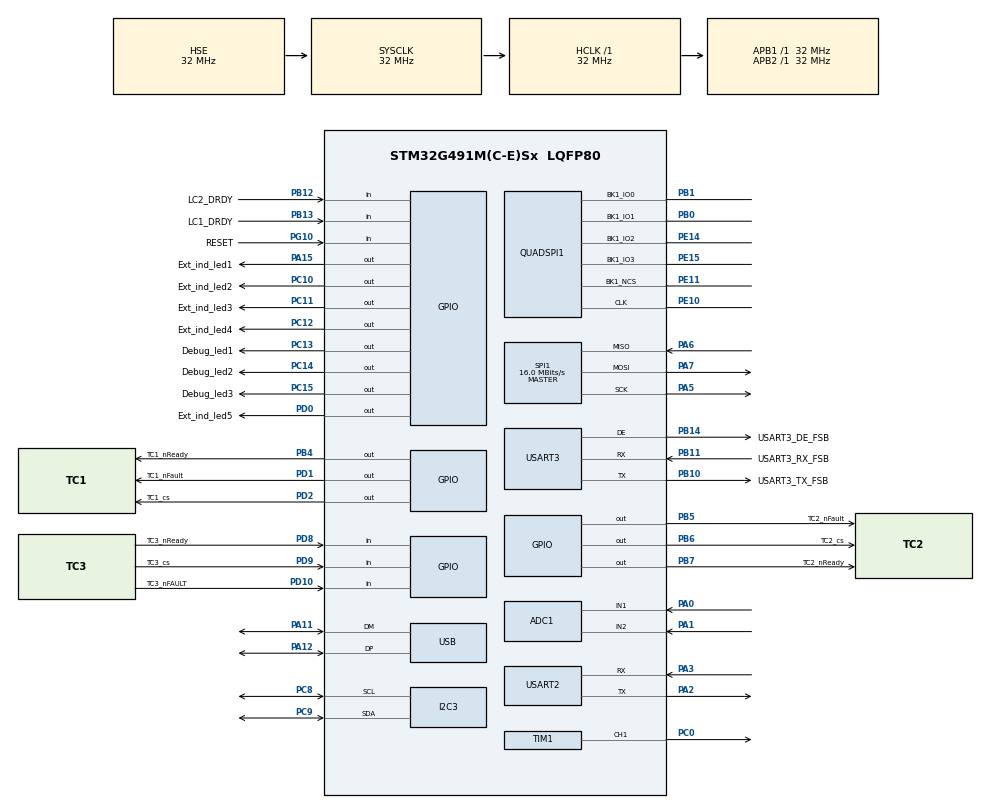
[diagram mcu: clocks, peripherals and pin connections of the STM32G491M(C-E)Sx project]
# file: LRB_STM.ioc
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ADC1.Channel-0\#ChannelRegularConversion=ADC_CHANNEL_1
ADC1.NbrOfConversionFlag=1
ADC1.OffsetNumber-0\#ChannelRegularConversion=ADC_OFFSET_NONE
ADC1.Rank-0\#ChannelRegularConversion=1
ADC1.SamplingTime-0\#ChannelRegularConversion=ADC_SAMPLETIME_2CYCLES_5
ADC1.SingleDiff-0\#ChannelRegularConversion=ADC_DIFFERENTIAL_ENDED
ADC1.master=1
FREERTOS.Tasks01=defaultTask,0,128,StartDefaultTask,Default,NULL,Dynamic,NULL,NULL
FREERTOS.configUSE_NEWLIB_REENTRANT=1
I2C3.Timing=0x00B07CB4
Mcu.Family=STM32G4
Mcu.Name=STM32G491M(C-E)Sx
Mcu.Package=LQFP80
NVIC.PriorityGroup=NVIC_PRIORITYGROUP_4
NVIC.TIM6_DAC_IRQn=true\:15\:0\:false\:false\:true\:false\:false\:true\:true
NVIC.TimeBase=TIM6_DAC_IRQn
NVIC.TimeBaseIP=TIM6
PA0.Mode=IN1-Differential
PA0.Signal=ADC1_IN1
PA1.Mode=IN1-Differential
PA1.Signal=ADC1_IN2
PA11.Mode=Device
PA11.Signal=USB_DM
PA12.Mode=Device
PA12.Signal=USB_DP
PA13.Mode=Trace_Asynchronous_SW
PA13.Signal=SYS_JTMS-SWDIO
PA14.Mode=Trace_Asynchronous_SW
PA14.Signal=SYS_JTCK-SWCLK
PA15.GPIO_Label=Ext_ind_led1
PA15.Signal=GPIO_Output
PA2.Mode=Asynchronous
PA2.Signal=USART2_TX
PA3.Mode=Asynchronous
PA3.Signal=USART2_RX
PA5.Mode=Full_Duplex_Master
PA5.Signal=SPI1_SCK
PA6.Mode=Full_Duplex_Master
PA6.Signal=SPI1_MISO
PA7.Mode=Full_Duplex_Master
PA7.Signal=SPI1_MOSI
PB0.Mode=Single Bank 1
PB0.Signal=QUADSPI1_BK1_IO1
PB1.Mode=Single Bank 1
PB1.Signal=QUADSPI1_BK1_IO0
PB10.GPIO_Label=USART3_TX_FSB
PB10.Mode=Asynchronous
PB10.Signal=USART3_TX
PB11.GPIO_Label=USART3_RX_FSB
PB11.Mode=Asynchronous
PB11.Signal=USART3_RX
PB12.GPIO_Label=LC2_DRDY
PB12.Signal=GPIO_Input
PB13.GPIO_Label=LC1_DRDY
PB13.Signal=GPIO_Input
PB14.GPIO_Label=USART3_DE_FSB
PB14.Mode=Hardware Flow Control (RS485)
PB14.Signal=USART3_DE
PB3.Mode=Trace_Asynchronous_SW
PB3.Signal=SYS_JTDO-SWO
PB4.GPIO_Label=TC1_nReady
PB4.Signal=GPIO_Output
PB5.GPIO_Label=TC2_nFault
PB5.Signal=GPIO_Output
PB6.GPIO_Label=TC2_cs
PB6.Signal=GPIO_Output
PB7.GPIO_Label=TC2_nReady
PB7.Signal=GPIO_Output
PC0.Signal=S_TIM1_CH1
PC10.GPIO_Label=Ext_ind_led2
PC10.Signal=GPIO_Output
PC11.GPIO_Label=Ext_ind_led3
PC11.Signal=GPIO_Output
PC12.GPIO_Label=Ext_ind_led4
PC12.Signal=GPIO_Output
PC13.GPIO_Label=Debug_led1
PC13.Signal=GPIO_Output
PC14-OSC32_IN.GPIO_Label=Debug_led2
PC14-OSC32_IN.Signal=GPIO_Output
PC15-OSC32_OUT.GPIO_Label=Debug_led3
PC15-OSC32_OUT.Signal=GPIO_Output
PC8.Mode=I2C
PC8.Signal=I2C3_SCL
PC9.Mode=I2C
PC9.Signal=I2C3_SDA
PD0.GPIO_Label=Ext_ind_led5
PD0.Signal=GPIO_Output
PD1.GPIO_Label=TC1_nFault
PD1.Signal=GPIO_Output
PD10.GPIO_Label=TC3_nFAULT
PD10.Signal=GPIO_Input
PD2.GPIO_Label=TC1_cs
PD2.Signal=GPIO_Output
PD8.GPIO_Label=TC3_nReady
PD8.Signal=GPIO_Input
PD9.GPIO_Label=TC3_cs
PD9.Signal=GPIO_Input
PE10.Mode=Single Bank 1
PE10.Signal=QUADSPI1_CLK
PE11.Mode=Single Bank 1
PE11.Signal=QUADSPI1_BK1_NCS
PE14.Mode=Single Bank 1
PE14.Signal=QUADSPI1_BK1_IO2
PE15.Mode=Single Bank 1
PE15.Signal=QUADSPI1_BK1_IO3
PF0-OSC_IN.Mode=HSE-External-Oscillator
PF0-OSC_IN.Signal=RCC_OSC_IN
PF1-OSC_OUT.Mode=HSE-External-Oscillator
PF1-OSC_OUT.Signal=RCC_OSC_OUT
PG10-NRST.GPIO_Label=RESET
PG10-NRST.Signal=GPIO_Input
ProjectManager.HeapSize=0x200
ProjectManager.StackSize=0x400
ProjectManager.TargetToolchain=STM32CubeIDE
RCC.ADC12Freq_Value=32000000
RCC.ADC345Freq_Value=32000000
RCC.AHBFreq_Value=32000000
RCC.APB1Freq_Value=32000000
RCC.APB1TimFreq_Value=32000000
RCC.APB2Freq_Value=32000000
RCC.APB2TimFreq_Value=32000000
RCC.CortexFreq_Value=32000000
RCC.EXTERNAL_CLOCK_VALUE=12288000
RCC.HCLKFreq_Value=32000000
RCC.HSE_VALUE=32000000
RCC.HSI48_VALUE=48000000
RCC.HSI_VALUE=16000000
RCC.LSE_VALUE=32768
RCC.PLLSourceVirtual=RCC_PLLSOURCE_HSE
RCC.SYSCLKFreq_VALUE=32000000
RCC.SYSCLKSource=RCC_SYSCLKSOURCE_HSE
RCC.VCOOutputFreq_Value=256000000
SH.S_TIM1_CH1.0=TIM1_CH1,PWM Generation1 CH1
SPI1.CalculateBaudRate=16.0 MBits/s
SPI1.Direction=SPI_DIRECTION_2LINES
SPI1.Mode=SPI_MODE_MASTER
SPI1.VirtualType=VM_MASTER
TIM1.Channel-PWM\ Generation1\ CH1=TIM_CHANNEL_1
USART2.VirtualMode-Asynchronous=VM_ASYNC
USART3.VirtualMode-Asynchronous=VM_ASYNC
USART3.VirtualMode-Hardware\ Flow\ Control\ (RS485)=VM_ASYNC
VP_FREERTOS_VS_CMSIS_V1.Mode=CMSIS_V1
VP_SYS_VS_DBSignals.Mode=DisableDeadBatterySignals
VP_SYS_VS_tim6.Mode=TIM6
board=custom

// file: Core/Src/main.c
/* USER CODE BEGIN Header */
/**
  ******************************************************************************
  * @file           : main.c
  * @brief          : Main program body
  ******************************************************************************
  * @attention
  *
  * Copyright (c) 2026 STMicroelectronics.
  * All rights reserved.
  *
  * This software is licensed under terms that can be found in the LICENSE file
  * in the root directory of this software component.
  * If no LICENSE file comes with this software, it is provided AS-IS.
  *
  ******************************************************************************
  */
/* USER CODE END Header */
#include "main.h"
#include "cmsis_os.h"

/* USER CODE BEGIN Includes */
#include "..\..\Components\SystemLogic\main_system.h"
/* USER CODE END Includes */

ADC_HandleTypeDef hadc1;

I2C_HandleTypeDef hi2c3;

QSPI_HandleTypeDef hqspi1;

SPI_HandleTypeDef hspi1;

TIM_HandleTypeDef htim1;

UART_HandleTypeDef huart2;
UART_HandleTypeDef huart3;

PCD_HandleTypeDef hpcd_USB_FS;

osThreadId defaultTaskHandle;

void SystemClock_Config(void);
static void MX_GPIO_Init(void);
static void MX_QUADSPI1_Init(void);
static void MX_SPI1_Init(void);
static void MX_USB_PCD_Init(void);
static void MX_USART2_UART_Init(void);
static void MX_USART3_UART_Init(void);
static void MX_ADC1_Init(void);
static void MX_I2C3_Init(void);
static void MX_TIM1_Init(void);
void StartDefaultTask(void const * argument);

/* USER CODE BEGIN 0 */
//MAX31856Driver tc1;
//Buzzer buzzer(&htim1, TIM_CHANNEL_1);
// Add other driver objects here as needed

// System initialization function
void System_Init()
{
    HAL_Init();
    SystemClock_Config();
    MX_GPIO_Init();
    MX_QUADSPI1_Init();
    MX_SPI1_Init();
    MX_USB_PCD_Init();
    MX_USART2_UART_Init();
    MX_USART3_UART_Init();
    MX_ADC1_Init();
    MX_I2C3_Init();
    MX_TIM1_Init();
}

// Drivers initialization function
void Drivers_Init()
{
    //tc1.init(&hspi1, TC1_cs_GPIO_Port, TC1_cs_Pin);
    //buzzer.init();
}

/* USER CODE END 0 */

int main(void)
{

  /* MCU Configuration--------------------------------------------------------*/

  /* Reset of all peripherals, Initializes the Flash interface and the Systick. */
  HAL_Init();

  /* Configure the system clock */
  SystemClock_Config();

  /* Initialize all configured peripherals */
  MX_GPIO_Init();
  MX_QUADSPI1_Init();
  MX_SPI1_Init();
  MX_USB_PCD_Init();
  MX_USART2_UART_Init();
  MX_USART3_UART_Init();
  MX_ADC1_Init();
  MX_I2C3_Init();
  MX_TIM1_Init();
  /* USER CODE BEGIN 2 */
  run_main();
  /* USER CODE END 2 */

  /* Create the thread(s) */
  /* definition and creation of defaultTask */
  osThreadDef(defaultTask, StartDefaultTask, osPriorityNormal, 0, 128);
  defaultTaskHandle = osThreadCreate(osThread(defaultTask), NULL);

  /* Start scheduler */
  osKernelStart();

  /* We should never get here as control is now taken by the scheduler */

  #if 0
  /* Infinite loop */
  while (1)
  {

  }
  #endif
}

void SystemClock_Config(void)
{
  RCC_OscInitTypeDef RCC_OscInitStruct = {0};
  RCC_ClkInitTypeDef RCC_ClkInitStruct = {0};

  /** Configure the main internal regulator output voltage
  */
  HAL_PWREx_ControlVoltageScaling(PWR_REGULATOR_VOLTAGE_SCALE1);

  /** Initializes the RCC Oscillators according to the specified parameters
  * in the RCC_OscInitTypeDef structure.
  */
  RCC_OscInitStruct.OscillatorType = RCC_OSCILLATORTYPE_HSI48|RCC_OSCILLATORTYPE_HSE;
  RCC_OscInitStruct.HSEState = RCC_HSE_ON;
  RCC_OscInitStruct.HSI48State = RCC_HSI48_ON;
  RCC_OscInitStruct.PLL.PLLState = RCC_PLL_NONE;
  if (HAL_RCC_OscConfig(&RCC_OscInitStruct) != HAL_OK)
  {
    Error_Handler();
  }

  /** Initializes the CPU, AHB and APB buses clocks
  */
  RCC_ClkInitStruct.ClockType = RCC_CLOCKTYPE_HCLK|RCC_CLOCKTYPE_SYSCLK
                              |RCC_CLOCKTYPE_PCLK1|RCC_CLOCKTYPE_PCLK2;
  RCC_ClkInitStruct.SYSCLKSource = RCC_SYSCLKSOURCE_HSE;
  RCC_ClkInitStruct.AHBCLKDivider = RCC_SYSCLK_DIV1;
  RCC_ClkInitStruct.APB1CLKDivider = RCC_HCLK_DIV1;
  RCC_ClkInitStruct.APB2CLKDivider = RCC_HCLK_DIV1;

  if (HAL_RCC_ClockConfig(&RCC_ClkInitStruct, FLASH_LATENCY_1) != HAL_OK)
  {
    Error_Handler();
  }
}

static void MX_ADC1_Init(void)
{

  ADC_MultiModeTypeDef multimode = {0};
  ADC_ChannelConfTypeDef sConfig = {0};

  /** Common config
  */
  hadc1.Instance = ADC1;
  hadc1.Init.ClockPrescaler = ADC_CLOCK_SYNC_PCLK_DIV2;
  hadc1.Init.Resolution = ADC_RESOLUTION_12B;
  hadc1.Init.DataAlign = ADC_DATAALIGN_RIGHT;
  hadc1.Init.GainCompensation = 0;
  hadc1.Init.ScanConvMode = ADC_SCAN_DISABLE;
  hadc1.Init.EOCSelection = ADC_EOC_SINGLE_CONV;
  hadc1.Init.LowPowerAutoWait = DISABLE;
  hadc1.Init.ContinuousConvMode = DISABLE;
  hadc1.Init.NbrOfConversion = 1;
  hadc1.Init.DiscontinuousConvMode = DISABLE;
  hadc1.Init.ExternalTrigConv = ADC_SOFTWARE_START;
  hadc1.Init.ExternalTrigConvEdge = ADC_EXTERNALTRIGCONVEDGE_NONE;
  hadc1.Init.DMAContinuousRequests = DISABLE;
  hadc1.Init.Overrun = ADC_OVR_DATA_PRESERVED;
  hadc1.Init.OversamplingMode = DISABLE;
  if (HAL_ADC_Init(&hadc1) != HAL_OK)
  {
    Error_Handler();
  }

  /** Configure the ADC multi-mode
  */
  multimode.Mode = ADC_MODE_INDEPENDENT;
  if (HAL_ADCEx_MultiModeConfigChannel(&hadc1, &multimode) != HAL_OK)
  {
    Error_Handler();
  }

  /** Configure Regular Channel
  */
  sConfig.Channel = ADC_CHANNEL_1;
  sConfig.Rank = ADC_REGULAR_RANK_1;
  sConfig.SamplingTime = ADC_SAMPLETIME_2CYCLES_5;
  sConfig.SingleDiff = ADC_DIFFERENTIAL_ENDED;
  sConfig.OffsetNumber = ADC_OFFSET_NONE;
  sConfig.Offset = 0;
  if (HAL_ADC_ConfigChannel(&hadc1, &sConfig) != HAL_OK)
  {
    Error_Handler();
  }

}

static void MX_I2C3_Init(void)
{

  hi2c3.Instance = I2C3;
  hi2c3.Init.Timing = 0x00B07CB4;
  hi2c3.Init.OwnAddress1 = 0;
  hi2c3.Init.AddressingMode = I2C_ADDRESSINGMODE_7BIT;
  hi2c3.Init.DualAddressMode = I2C_DUALADDRESS_DISABLE;
  hi2c3.Init.OwnAddress2 = 0;
  hi2c3.Init.OwnAddress2Masks = I2C_OA2_NOMASK;
  hi2c3.Init.GeneralCallMode = I2C_GENERALCALL_DISABLE;
  hi2c3.Init.NoStretchMode = I2C_NOSTRETCH_DISABLE;
  if (HAL_I2C_Init(&hi2c3) != HAL_OK)
  {
    Error_Handler();
  }

  /** Configure Analogue filter
  */
  if (HAL_I2CEx_ConfigAnalogFilter(&hi2c3, I2C_ANALOGFILTER_ENABLE) != HAL_OK)
  {
    Error_Handler();
  }

  /** Configure Digital filter
  */
  if (HAL_I2CEx_ConfigDigitalFilter(&hi2c3, 0) != HAL_OK)
  {
    Error_Handler();
  }

}

static void MX_QUADSPI1_Init(void)
{

  /* QUADSPI1 parameter configuration*/
  hqspi1.Instance = QUADSPI;
  hqspi1.Init.ClockPrescaler = 255;
  hqspi1.Init.FifoThreshold = 1;
  hqspi1.Init.SampleShifting = QSPI_SAMPLE_SHIFTING_NONE;
  hqspi1.Init.FlashSize = 1;
  hqspi1.Init.ChipSelectHighTime = QSPI_CS_HIGH_TIME_1_CYCLE;
  hqspi1.Init.ClockMode = QSPI_CLOCK_MODE_0;
  hqspi1.Init.FlashID = QSPI_FLASH_ID_1;
  hqspi1.Init.DualFlash = QSPI_DUALFLASH_DISABLE;
  if (HAL_QSPI_Init(&hqspi1) != HAL_OK)
  {
    Error_Handler();
  }

}

static void MX_SPI1_Init(void)
{

  /* SPI1 parameter configuration*/
  hspi1.Instance = SPI1;
  hspi1.Init.Mode = SPI_MODE_MASTER;
  hspi1.Init.Direction = SPI_DIRECTION_2LINES;
  hspi1.Init.DataSize = SPI_DATASIZE_4BIT;
  hspi1.Init.CLKPolarity = SPI_POLARITY_LOW;
  hspi1.Init.CLKPhase = SPI_PHASE_1EDGE;
  hspi1.Init.NSS = SPI_NSS_SOFT;
  hspi1.Init.BaudRatePrescaler = SPI_BAUDRATEPRESCALER_2;
  hspi1.Init.FirstBit = SPI_FIRSTBIT_MSB;
  hspi1.Init.TIMode = SPI_TIMODE_DISABLE;
  hspi1.Init.CRCCalculation = SPI_CRCCALCULATION_DISABLE;
  hspi1.Init.CRCPolynomial = 7;
  hspi1.Init.CRCLength = SPI_CRC_LENGTH_DATASIZE;
  hspi1.Init.NSSPMode = SPI_NSS_PULSE_ENABLE;
  if (HAL_SPI_Init(&hspi1) != HAL_OK)
  {
    Error_Handler();
  }

}

static void MX_TIM1_Init(void)
{

  TIM_MasterConfigTypeDef sMasterConfig = {0};
  TIM_OC_InitTypeDef sConfigOC = {0};
  TIM_BreakDeadTimeConfigTypeDef sBreakDeadTimeConfig = {0};

  htim1.Instance = TIM1;
  htim1.Init.Prescaler = 0;
  htim1.Init.CounterMode = TIM_COUNTERMODE_UP;
  htim1.Init.Period = 65535;
  htim1.Init.ClockDivision = TIM_CLOCKDIVISION_DIV1;
  htim1.Init.RepetitionCounter = 0;
  htim1.Init.AutoReloadPreload = TIM_AUTORELOAD_PRELOAD_DISABLE;
  if (HAL_TIM_PWM_Init(&htim1) != HAL_OK)
  {
    Error_Handler();
  }
  sMasterConfig.MasterOutputTrigger = TIM_TRGO_RESET;
  sMasterConfig.MasterOutputTrigger2 = TIM_TRGO2_RESET;
  sMasterConfig.MasterSlaveMode = TIM_MASTERSLAVEMODE_DISABLE;
  if (HAL_TIMEx_MasterConfigSynchronization(&htim1, &sMasterConfig) != HAL_OK)
  {
    Error_Handler();
  }
  sConfigOC.OCMode = TIM_OCMODE_PWM1;
  sConfigOC.Pulse = 0;
  sConfigOC.OCPolarity = TIM_OCPOLARITY_HIGH;
  sConfigOC.OCNPolarity = TIM_OCNPOLARITY_HIGH;
  sConfigOC.OCFastMode = TIM_OCFAST_DISABLE;
  sConfigOC.OCIdleState = TIM_OCIDLESTATE_RESET;
  sConfigOC.OCNIdleState = TIM_OCNIDLESTATE_RESET;
  if (HAL_TIM_PWM_ConfigChannel(&htim1, &sConfigOC, TIM_CHANNEL_1) != HAL_OK)
  {
    Error_Handler();
  }
  sBreakDeadTimeConfig.OffStateRunMode = TIM_OSSR_DISABLE;
  sBreakDeadTimeConfig.OffStateIDLEMode = TIM_OSSI_DISABLE;
  sBreakDeadTimeConfig.LockLevel = TIM_LOCKLEVEL_OFF;
  sBreakDeadTimeConfig.DeadTime = 0;
  sBreakDeadTimeConfig.BreakState = TIM_BREAK_DISABLE;
  sBreakDeadTimeConfig.BreakPolarity = TIM_BREAKPOLARITY_HIGH;
  sBreakDeadTimeConfig.BreakFilter = 0;
  sBreakDeadTimeConfig.BreakAFMode = TIM_BREAK_AFMODE_INPUT;
  sBreakDeadTimeConfig.Break2State = TIM_BREAK2_DISABLE;
  sBreakDeadTimeConfig.Break2Polarity = TIM_BREAK2POLARITY_HIGH;
  sBreakDeadTimeConfig.Break2Filter = 0;
  sBreakDeadTimeConfig.Break2AFMode = TIM_BREAK_AFMODE_INPUT;
  sBreakDeadTimeConfig.AutomaticOutput = TIM_AUTOMATICOUTPUT_DISABLE;
  if (HAL_TIMEx_ConfigBreakDeadTime(&htim1, &sBreakDeadTimeConfig) != HAL_OK)
  {
    Error_Handler();
  }
  HAL_TIM_MspPostInit(&htim1);

}

static void MX_USART2_UART_Init(void)
{

  huart2.Instance = USART2;
  huart2.Init.BaudRate = 115200;
  huart2.Init.WordLength = UART_WORDLENGTH_8B;
  huart2.Init.StopBits = UART_STOPBITS_1;
  huart2.Init.Parity = UART_PARITY_NONE;
  huart2.Init.Mode = UART_MODE_TX_RX;
  huart2.Init.HwFlowCtl = UART_HWCONTROL_NONE;
  huart2.Init.OverSampling = UART_OVERSAMPLING_16;
  huart2.Init.OneBitSampling = UART_ONE_BIT_SAMPLE_DISABLE;
  huart2.Init.ClockPrescaler = UART_PRESCALER_DIV1;
  huart2.AdvancedInit.AdvFeatureInit = UART_ADVFEATURE_NO_INIT;
  if (HAL_UART_Init(&huart2) != HAL_OK)
  {
    Error_Handler();
  }
  if (HAL_UARTEx_SetTxFifoThreshold(&huart2, UART_TXFIFO_THRESHOLD_1_8) != HAL_OK)
  {
    Error_Handler();
  }
  if (HAL_UARTEx_SetRxFifoThreshold(&huart2, UART_RXFIFO_THRESHOLD_1_8) != HAL_OK)
  {
    Error_Handler();
  }
  if (HAL_UARTEx_DisableFifoMode(&huart2) != HAL_OK)
  {
    Error_Handler();
  }

}

static void MX_USART3_UART_Init(void)
{

  huart3.Instance = USART3;
  huart3.Init.BaudRate = 115200;
  huart3.Init.WordLength = UART_WORDLENGTH_8B;
  huart3.Init.StopBits = UART_STOPBITS_1;
  huart3.Init.Parity = UART_PARITY_NONE;
  huart3.Init.Mode = UART_MODE_TX_RX;
  huart3.Init.HwFlowCtl = UART_HWCONTROL_NONE;
  huart3.Init.OverSampling = UART_OVERSAMPLING_16;
  huart3.Init.OneBitSampling = UART_ONE_BIT_SAMPLE_DISABLE;
  huart3.Init.ClockPrescaler = UART_PRESCALER_DIV1;
  huart3.AdvancedInit.AdvFeatureInit = UART_ADVFEATURE_NO_INIT;
  if (HAL_RS485Ex_Init(&huart3, UART_DE_POLARITY_HIGH, 0, 0) != HAL_OK)
  {
    Error_Handler();
  }
  if (HAL_UARTEx_SetTxFifoThreshold(&huart3, UART_TXFIFO_THRESHOLD_1_8) != HAL_OK)
  {
    Error_Handler();
  }
  if (HAL_UARTEx_SetRxFifoThreshold(&huart3, UART_RXFIFO_THRESHOLD_1_8) != HAL_OK)
  {
    Error_Handler();
  }
  if (HAL_UARTEx_DisableFifoMode(&huart3) != HAL_OK)
  {
    Error_Handler();
  }

}

static void MX_USB_PCD_Init(void)
{

  hpcd_USB_FS.Instance = USB;
  hpcd_USB_FS.Init.dev_endpoints = 8;
  hpcd_USB_FS.Init.speed = PCD_SPEED_FULL;
  hpcd_USB_FS.Init.phy_itface = PCD_PHY_EMBEDDED;
  hpcd_USB_FS.Init.Sof_enable = DISABLE;
  hpcd_USB_FS.Init.low_power_enable = DISABLE;
  hpcd_USB_FS.Init.lpm_enable = DISABLE;
  hpcd_USB_FS.Init.battery_charging_enable = DISABLE;
  if (HAL_PCD_Init(&hpcd_USB_FS) != HAL_OK)
  {
    Error_Handler();
  }

}

static void MX_GPIO_Init(void)
{
  GPIO_InitTypeDef GPIO_InitStruct = {0};

  /* GPIO Ports Clock Enable */
  __HAL_RCC_GPIOC_CLK_ENABLE();
  __HAL_RCC_GPIOF_CLK_ENABLE();
  __HAL_RCC_GPIOG_CLK_ENABLE();
  __HAL_RCC_GPIOA_CLK_ENABLE();
  __HAL_RCC_GPIOB_CLK_ENABLE();
  __HAL_RCC_GPIOE_CLK_ENABLE();
  __HAL_RCC_GPIOD_CLK_ENABLE();

  /*Configure GPIO pin Output Level */
  HAL_GPIO_WritePin(GPIOC, Debug_led1_Pin|Debug_led2_Pin|Debug_led3_Pin|Ext_ind_led2_Pin
                          |Ext_ind_led3_Pin|Ext_ind_led4_Pin, GPIO_PIN_RESET);

  /*Configure GPIO pin Output Level */
  HAL_GPIO_WritePin(Ext_ind_led1_GPIO_Port, Ext_ind_led1_Pin, GPIO_PIN_RESET);

  /*Configure GPIO pin Output Level */
  HAL_GPIO_WritePin(GPIOD, Ext_ind_led5_Pin|TC1_nFault_Pin|TC1_cs_Pin, GPIO_PIN_RESET);

  /*Configure GPIO pin Output Level */
  HAL_GPIO_WritePin(GPIOB, TC1_nReady_Pin|TC2_nFault_Pin|TC2_cs_Pin|TC2_nReady_Pin, GPIO_PIN_RESET);

  /*Configure GPIO pins : Debug_led1_Pin Debug_led2_Pin Debug_led3_Pin Ext_ind_led2_Pin
                           Ext_ind_led3_Pin Ext_ind_led4_Pin */
  GPIO_InitStruct.Pin = Debug_led1_Pin|Debug_led2_Pin|Debug_led3_Pin|Ext_ind_led2_Pin
                          |Ext_ind_led3_Pin|Ext_ind_led4_Pin;
  GPIO_InitStruct.Mode = GPIO_MODE_OUTPUT_PP;
  GPIO_InitStruct.Pull = GPIO_NOPULL;
  GPIO_InitStruct.Speed = GPIO_SPEED_FREQ_LOW;
  HAL_GPIO_Init(GPIOC, &GPIO_InitStruct);

  /*Configure GPIO pin : RESET_Pin */
  GPIO_InitStruct.Pin = RESET_Pin;
  GPIO_InitStruct.Mode = GPIO_MODE_INPUT;
  GPIO_InitStruct.Pull = GPIO_NOPULL;
  HAL_GPIO_Init(RESET_GPIO_Port, &GPIO_InitStruct);

  /*Configure GPIO pins : LC2_DRDY_Pin LC1_DRDY_Pin */
  GPIO_InitStruct.Pin = LC2_DRDY_Pin|LC1_DRDY_Pin;
  GPIO_InitStruct.Mode = GPIO_MODE_INPUT;
  GPIO_InitStruct.Pull = GPIO_NOPULL;
  HAL_GPIO_Init(GPIOB, &GPIO_InitStruct);

  /*Configure GPIO pins : TC3_nReady_Pin TC3_cs_Pin TC3_nFAULT_Pin */
  GPIO_InitStruct.Pin = TC3_nReady_Pin|TC3_cs_Pin|TC3_nFAULT_Pin;
  GPIO_InitStruct.Mode = GPIO_MODE_INPUT;
  GPIO_InitStruct.Pull = GPIO_NOPULL;
  HAL_GPIO_Init(GPIOD, &GPIO_InitStruct);

  /*Configure GPIO pin : Ext_ind_led1_Pin */
  GPIO_InitStruct.Pin = Ext_ind_led1_Pin;
  GPIO_InitStruct.Mode = GPIO_MODE_OUTPUT_PP;
  GPIO_InitStruct.Pull = GPIO_NOPULL;
  GPIO_InitStruct.Speed = GPIO_SPEED_FREQ_LOW;
  HAL_GPIO_Init(Ext_ind_led1_GPIO_Port, &GPIO_InitStruct);

  /*Configure GPIO pins : Ext_ind_led5_Pin TC1_nFault_Pin TC1_cs_Pin */
  GPIO_InitStruct.Pin = Ext_ind_led5_Pin|TC1_nFault_Pin|TC1_cs_Pin;
  GPIO_InitStruct.Mode = GPIO_MODE_OUTPUT_PP;
  GPIO_InitStruct.Pull = GPIO_NOPULL;
  GPIO_InitStruct.Speed = GPIO_SPEED_FREQ_LOW;
  HAL_GPIO_Init(GPIOD, &GPIO_InitStruct);

  /*Configure GPIO pins : TC1_nReady_Pin TC2_nFault_Pin TC2_cs_Pin TC2_nReady_Pin */
  GPIO_InitStruct.Pin = TC1_nReady_Pin|TC2_nFault_Pin|TC2_cs_Pin|TC2_nReady_Pin;
  GPIO_InitStruct.Mode = GPIO_MODE_OUTPUT_PP;
  GPIO_InitStruct.Pull = GPIO_NOPULL;
  GPIO_InitStruct.Speed = GPIO_SPEED_FREQ_LOW;
  HAL_GPIO_Init(GPIOB, &GPIO_InitStruct);

}

void StartDefaultTask(void const * argument)
{
  for(;;)
  {
    osDelay(1);
  }
}

void HAL_TIM_PeriodElapsedCallback(TIM_HandleTypeDef *htim)
{
  if (htim->Instance == TIM6)
  {
    HAL_IncTick();
  }
}

void Error_Handler(void)
{
  __disable_irq();
  while (1)
  {
  }
}
